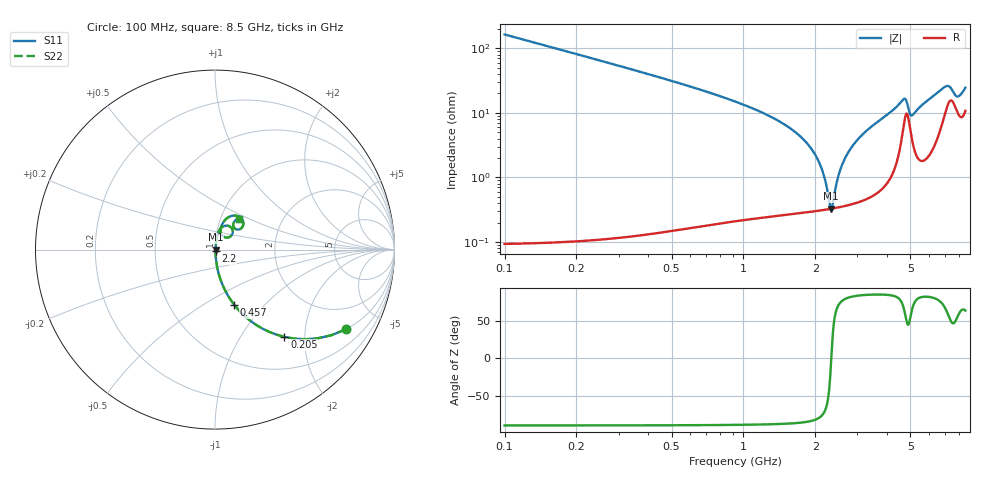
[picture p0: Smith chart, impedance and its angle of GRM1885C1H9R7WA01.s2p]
!Murata Part Number: GRM1885C1H9R7WA01
!These Parameters are Measured in Series Mode Connection
!Data Generated on Mar 30, 2021
!  o--ll--o
!Port1  Port2
!  o------o
!Operation Temp=25[degC], DC Bias Voltage=0[V]
!Freq. Start=100[MHz] Stop=9[GHz] 401[Steps]
# Hz S RI R 50
!Freq.(Hz) S11(Real) S11(Imag) S21(Real) S21(Imag) S12(Real) S12(Imag) S22(Real) S22(Imag)
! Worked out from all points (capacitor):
!   401 points, 100 MHz to 8.5 GHz, reference 50 ohm
!   read as one part in series: C = 9.7 pF near 142 MHz
!   lowest |Z| = 329 mohm at 2.326 GHz (marker M1)
!   series resonance near 2.332 GHz, so ESL is about 480 pH
!   S11 on the Smith chart (normalised r, x): 100 MHz: 1.00, -3.28; 205 MHz: 1.00, -1.59; 457 MHz: 1.00, -0.69; 2.2 GHz: 1.01, -0.02; 8.5 GHz: 1.22, +0.44
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1e8  0.7283 -0.4446  0.2717 0.4446  0.2717 0.4446  0.7283 -0.4446
2.05e8  0.3868 -0.4864  0.6132 0.4864  0.6132 0.4864  0.3868 -0.4864
3.1e8  0.2131 -0.4084  0.7869 0.4084  0.7869 0.4084  0.2131 -0.4084
4.57e8  0.1073 -0.3075  0.8927 0.3075  0.8927 0.3075  0.1073 -0.3075
8.56e8  0.0286 -0.1607  0.9714 0.1607  0.9714 0.1607  0.0286 -0.1607
1.507e9  0.00665 -0.0632  0.9934 0.0632  0.9934 0.0632  0.00665 -0.0632
1.948e9  0.00361 -0.0257  0.9964 0.0257  0.9964 0.0257  0.00361 -0.0257
2.095e9  0.0033 -0.0153  0.9967 0.0153  0.9967 0.0153  0.0033 -0.0153
2.2e9  0.00322 -0.00836  0.9968 0.00836  0.9968 0.00836  0.00322 -0.00836
2.326e9  0.00326 -0.000392  0.9967 0.000392  0.9967 0.000392  0.00326 -0.000392
2.368e9  0.0033 0.00218  0.9967 -0.00218  0.9967 -0.00218  0.0033 0.00218
2.473e9  0.00347 0.00845  0.9965 -0.00845  0.9965 -0.00845  0.00347 0.00845
2.578e9  0.00371 0.0145  0.9963 -0.0145  0.9963 -0.0145  0.00371 0.0145
2.914e9  0.00501 0.033  0.995 -0.033  0.995 -0.033  0.00501 0.033
3.397e9  0.0083 0.0581  0.9917 -0.0581  0.9917 -0.0581  0.0083 0.0581
4.3e9  0.0263 0.1111  0.9737 -0.1111  0.9737 -0.1111  0.0263 0.1111
4.72e9  0.0858 0.1263  0.9142 -0.1263  0.9142 -0.1263  0.0858 0.1263
5.056e9  0.0463 0.0736  0.9537 -0.0736  0.9537 -0.0736  0.0463 0.0736
5.707e9  0.0361 0.1321  0.9639 -0.1321  0.9639 -0.1321  0.0361 0.1321
7.114e9  0.1448 0.1758  0.8552 -0.1758  0.8552 -0.1758  0.1448 0.1758
7.849e9  0.1099 0.118  0.8901 -0.118  0.8901 -0.118  0.1099 0.118
8.5e9  0.1315 0.1726  0.8685 -0.1726  0.8685 -0.1726  0.1315 0.1726
